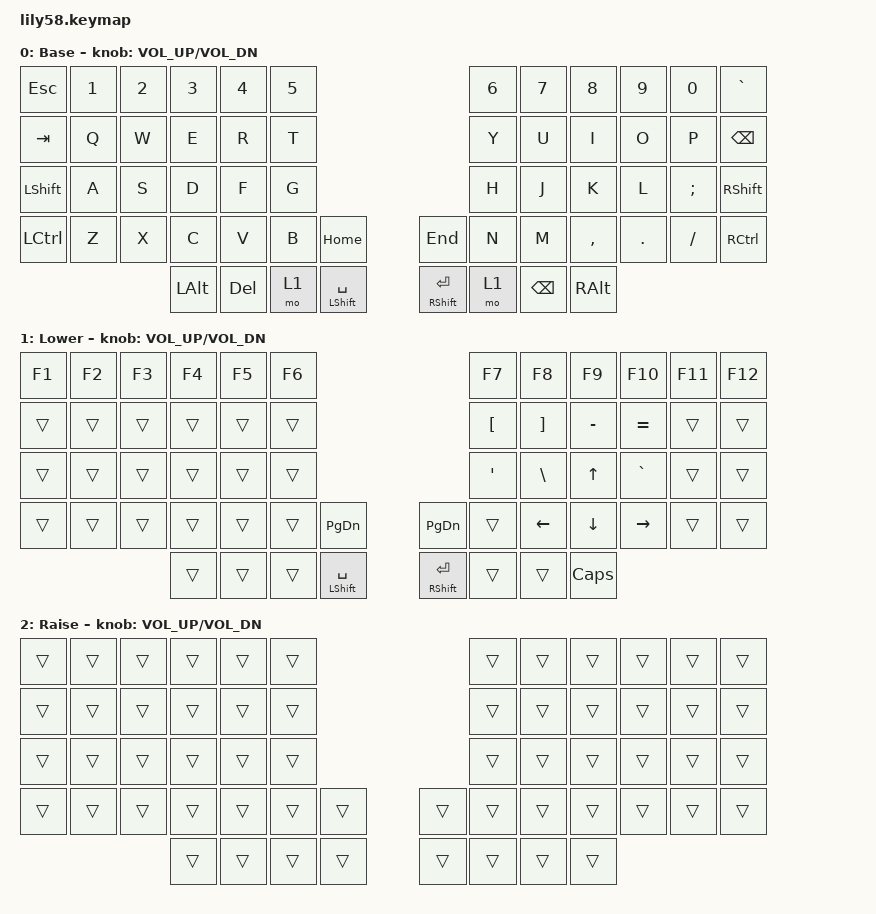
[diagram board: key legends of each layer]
/*
 * Copyright (c) 2020 The ZMK Contributors
 *
 * SPDX-License-Identifier: MIT
 */

#include <behaviors.dtsi>
#include <dt-bindings/zmk/keys.h>

/ {
    behaviors {
        base: base {
            compatible = "zmk,behavior-tap-dance";
            label = "BASE";
            #binding-cells = <0>;
            bindings = <&mo 1>, <&tog 1>;

            tapping-term-ms = <200>;
        };

        raise: raise {
            compatible = "zmk,behavior-tap-dance";
            label = "RAISE";
            #binding-cells = <0>;
            bindings = <&mo 2>, <&tog 2>;

            tapping-term-ms = <200>;
        };

        space: space {
            compatible = "zmk,behavior-hold-tap";
            label = "SPACE";
            bindings = <&kp>, <&kp>;

            #binding-cells = <2>;
            tapping-term-ms = <170>;
            flavor = "tap-preferred";
        };
    };

    combos { compatible = "zmk,combos"; };

    keymap {
        compatible = "zmk,keymap";

        default_layer {
            // ------------------------------------------------------------------------------------------------------------
            // |  ESC  |  1  |  2  |  3   |  4   |  5   |                   |  6   |  7    |  8    |  9   |   0   |   `   |
            // |  TAB  |  Q  |  W  |  E   |  R   |  T   |                   |  Y   |  U    |  I    |  O   |   P   |   -   |
            // |  CTRL |  A  |  S  |  D   |  F   |  G   |                   |  H   |  J    |  K    |  L   |   ;   |   '   |
            // | SHIFT |  Z  |  X  |  C   |  V   |  B   |   "["  |  |  "]"  |  N   |  M    |  ,    |  .   |   /   | SHIFT |
            //                     | ALT  | GUI  | LOWER|  SPACE |  | ENTER | RAISE| BSPC  | GUI   |

            display-name = "Base";
            bindings = <
&kp ESC     &kp N1  &kp N2  &kp N3        &kp N4   &kp N5                                                   &kp N6  &kp N7         &kp N8         &kp N9   &kp N0    &kp GRAVE
&kp TAB     &kp Q   &kp W   &kp E         &kp R    &kp T                                                    &kp Y   &kp U          &kp I          &kp O    &kp P     &kp BACKSPACE
&kp LSHIFT  &kp A   &kp S   &kp D         &kp F    &kp G                                                    &kp H   &kp J          &kp K          &kp L    &kp SEMI  &kp RIGHT_SHIFT
&kp LCTRL   &kp Z   &kp X   &kp C         &kp V    &kp B   &kp HOME               &kp END                   &kp N   &kp M          &kp COMMA      &kp DOT  &kp FSLH  &kp RCTRL
                            &kp LEFT_ALT  &kp DEL  &mo 1   &space LSHIFT SPACE    &space RIGHT_SHIFT ENTER  &mo 1   &kp BACKSPACE  &kp RIGHT_ALT
            >;

            sensor-bindings = <&inc_dec_kp C_VOL_UP C_VOL_DN>;
        };

        lower_layer {
            // ------------------------------------------------------------------------------------------------------------
            // | BTCLR | BT1 | BT2 |  BT3 |  BT4 |  BT5 |                   |      |       |       |      |       |       |
            // |  F1   |  F2 |  F3 |  F4  |  F5  |  F6  |                   |  F7  |  F8   |  F9   |  F10 |  F11  |  F12  |
            // |   `   |  !  |  @  |  #   |  $   |  %   |                   |  ^   |  &    |  *    |  (   |   )   |   ~   |
            // |       |     |     |      |      |      |        |  |       |      |  _    |  +    |  {   |   }   |  "|"  |
            //                     |      |      |      |        |  |       |      |       |       |

            display-name = "Lower";
            bindings = <
&kp F1  &kp F2  &kp F3  &kp F4  &kp F5  &kp F6                                                 &kp F7            &kp F8             &kp F9          &kp F10          &kp F11  &kp F12
&trans  &trans  &trans  &trans  &trans  &trans                                                 &kp LEFT_BRACKET  &kp RIGHT_BRACKET  &kp MINUS       &kp EQUAL        &trans   &trans
&trans  &trans  &trans  &trans  &trans  &trans                                                 &kp APOS          &kp BSLH           &kp UP_ARROW    &kp GRAVE        &trans   &trans
&trans  &trans  &trans  &trans  &trans  &trans  &kp PAGE_DOWN           &kp PAGE_DOWN          &trans            &kp LEFT_ARROW     &kp DOWN_ARROW  &kp RIGHT_ARROW  &trans   &trans
                        &trans  &trans  &trans  &mt LEFT_SHIFT SPACE    &mt RIGHT_SHIFT ENTER  &trans            &trans             &kp CAPS
            >;

            sensor-bindings = <&inc_dec_kp C_VOL_UP C_VOL_DN>;
        };

        raise_layer {
            // ------------------------------------------------------------------------------------------------------------
            // |       |     |     |      |      |      |                   |      |       |       |      |       |       |
            // |   `   |  1  |  2  |  3   |  4   |  5   |                   |  6   |   7   |   8   |  9   |   0   |       |
            // |   F1  |  F2 |  F3 |  F4  |  F5  |  F6  |                   |      |   <-  |   v   |  ^   |  ->   |       |
            // |   F7  |  F8 |  F9 |  F10 |  F11 |  F12 |        |  |       |  +   |   -   |   =   |  [   |   ]   |   \   |
            //                     |      |      |      |        |  |       |      |       |       |

            display-name = "Raise";
            bindings = <
&trans  &trans  &trans  &trans  &trans  &trans                    &trans  &trans  &trans  &trans  &trans  &trans
&trans  &trans  &trans  &trans  &trans  &trans                    &trans  &trans  &trans  &trans  &trans  &trans
&trans  &trans  &trans  &trans  &trans  &trans                    &trans  &trans  &trans  &trans  &trans  &trans
&trans  &trans  &trans  &trans  &trans  &trans  &trans    &trans  &trans  &trans  &trans  &trans  &trans  &trans
                        &trans  &trans  &trans  &trans    &trans  &trans  &trans  &trans
            >;

            sensor-bindings = <&inc_dec_kp C_VOL_UP C_VOL_DN>;
        };
    };
};
